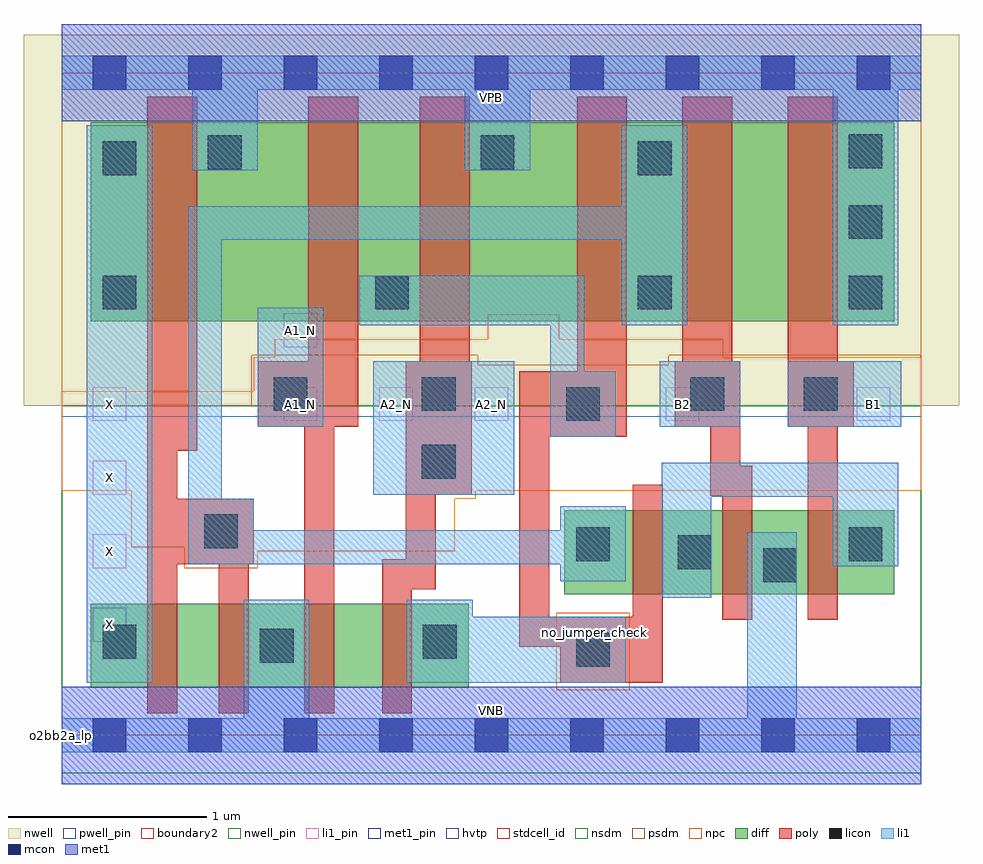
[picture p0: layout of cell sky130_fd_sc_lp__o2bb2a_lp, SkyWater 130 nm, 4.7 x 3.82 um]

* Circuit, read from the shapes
.subckt sky130_fd_sc_lp__o2bb2a_lp A1_N A2_N B1 B2 VGND VNB VPB VPWR X
XM1 n1 n2 X VNB sky130_fd_pr__nfet_01v8 w=0.42 l=0.15
XM2 VGND n2 n1 VNB sky130_fd_pr__nfet_01v8 w=0.42 l=0.15
XM3 n3 A1_N VGND VNB sky130_fd_pr__nfet_01v8 w=0.42 l=0.15
XM4 n4 A2_N n3 VNB sky130_fd_pr__nfet_01v8 w=0.42 l=0.15
XM5 n5 n4 n2 VNB sky130_fd_pr__nfet_01v8 w=0.42 l=0.15
XM6 VGND B2 n5 VNB sky130_fd_pr__nfet_01v8 w=0.42 l=0.15
XM7 n5 B1 VGND VNB sky130_fd_pr__nfet_01v8 w=0.42 l=0.15
XM8 VPWR n2 X VPB sky130_fd_pr__pfet_01v8_hvt w=1 l=0.25
XM9 n4 A1_N VPWR VPB sky130_fd_pr__pfet_01v8_hvt w=1 l=0.25
XM10 VPWR A2_N n4 VPB sky130_fd_pr__pfet_01v8_hvt w=1 l=0.25
XM11 n2 n4 VPWR VPB sky130_fd_pr__pfet_01v8_hvt w=1 l=0.25
XM12 n6 B2 n2 VPB sky130_fd_pr__pfet_01v8_hvt w=1 l=0.25
XM13 VPWR B1 n6 VPB sky130_fd_pr__pfet_01v8_hvt w=1 l=0.25
.ends

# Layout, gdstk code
import gdstk
lib = gdstk.Library(unit=1e-6, precision=1e-09)
def R(c, l, rs):  # rectangles x0, y0, x1, y1
    for r in rs: c.add(gdstk.rectangle(r[:2], r[2:], *l))
def A(c, l, x, y, w, h, nx, ny, dx, dy):  # array of equal rectangles
    R(c, l, [(x+i*dx, y+j*dy, x+i*dx+w, y+j*dy+h) for i in range(nx) for j in range(ny)])
def P(c, l, *ps):  # polygons
    for p in ps: c.add(gdstk.Polygon(p, *l))
nwell_pin = (64, 16)
nwell = (64, 20)
diff = (65, 20)
poly = (66, 20)
licon = (66, 44)
li1_pin = (67, 16)
li1 = (67, 20)
mcon = (67, 44)
met1_pin = (68, 16)
met1 = (68, 20)
hvtp = (78, 44)
stdcell_id = (81, 4)
nsdm = (93, 44)
psdm = (94, 20)
npc = (95, 20)
pwell_pin = (122, 16)
boundary2 = (236, 0)

sky130_fd_sc_lp__o2bb2a_ = lib.new_cell('sky130_fd_sc_lp__o2bb2a_lp')
R(sky130_fd_sc_lp__o2bb2a_, nwell_pin, [(0,3.085,4.32,3.33)])
R(sky130_fd_sc_lp__o2bb2a_, nwell, [(-0.19,1.655,4.51,3.52)])
R(sky130_fd_sc_lp__o2bb2a_, diff, [(0.145,0.24,2.045,0.66), (2.525,0.71,4.185,1.13), (0.145,2.08,4.185,3.08)])
P(sky130_fd_sc_lp__o2bb2a_, poly, [(0.965,1.19),(0.58,1.19),(0.58,1.43),(0.68,1.43),(0.68,3.21),(0.43,3.21),(0.43,0.11),(0.58,0.11),(0.58,0.86),(0.79,0.86),(0.79,0.11),(0.94,0.11),(0.94,0.86),(0.965,0.86)],
  [(1.49,3.21),(1.24,3.21),(1.24,1.88),(0.985,1.88),(0.985,1.55),(1.22,1.55),(1.22,0.11),(1.37,0.11),(1.37,1.55),(1.49,1.55)],
  [(2.06,1.88),(2.05,1.88),(2.05,3.21),(1.8,3.21),(1.8,1.88),(1.73,1.88),(1.73,0.885),(1.61,0.885),(1.61,0.11),(1.76,0.11),(1.76,0.735),(1.88,0.735),(1.88,1.21),(2.06,1.21)],
  [(3.02,1.26),(2.87,1.26),(2.87,0.595),(2.45,0.595),(2.45,1.5),(2.84,1.5),(2.84,3.21),(2.59,3.21),(2.59,1.83),(2.3,1.83),(2.3,0.445),(2.505,0.445),(2.505,0.265),(3.02,0.265)],
  [(3.47,1.355),(3.41,1.355),(3.41,1.88),(3.37,1.88),(3.37,3.21),(3.12,3.21),(3.12,1.88),(3.08,1.88),(3.08,1.55),(3.26,1.55),(3.26,1.205),(3.32,1.205),(3.32,0.58),(3.47,0.58)],
  [(3.98,1.88),(3.9,1.88),(3.9,3.21),(3.65,3.21),(3.65,1.55),(3.75,1.55),(3.75,0.58),(3.9,0.58),(3.9,1.55),(3.98,1.55)])
A(sky130_fd_sc_lp__o2bb2a_, licon, 3.955, 2.14, 0.17, 0.17, 1, 3, 0, 0.355)
R(sky130_fd_sc_lp__o2bb2a_, licon, [(2.585,0.345,2.755,0.515), (0.995,0.365,1.165,0.535), (0.205,0.385,0.375,0.555), (1.815,0.385,1.985,0.555), (3.525,0.77,3.695,0.94), (3.095,0.835,3.265,1.005), (2.585,0.875,2.755,1.045), (3.955,0.875,4.125,1.045), (0.715,0.94,0.885,1.11), (1.81,1.29,1.98,1.46), (2.535,1.58,2.705,1.75), (1.065,1.63,1.235,1.8), (1.81,1.63,1.98,1.8), (3.16,1.63,3.33,1.8), (3.73,1.63,3.9,1.8), (0.205,2.14,0.375,2.31), (1.575,2.14,1.745,2.31), (2.895,2.14,3.065,2.31), (0.205,2.815,0.375,2.985), (2.895,2.815,3.065,2.985), (0.735,2.845,0.905,3.015), (2.105,2.845,2.275,3.015)])
A(sky130_fd_sc_lp__o2bb2a_, li1_pin, 0.155, 0.47, 0.17, 0.17, 1, 4, 0, 0.37)
A(sky130_fd_sc_lp__o2bb2a_, li1_pin, 1.115, 1.58, 0.17, 0.17, 3, 1, 0.48, 0)
R(sky130_fd_sc_lp__o2bb2a_, li1_pin, [(3.035,1.58,3.205,1.75), (3.995,1.58,4.165,1.75), (1.115,1.95,1.285,2.12)])
R(sky130_fd_sc_lp__o2bb2a_, li1, [(0.125,0.265,0.455,3.065), (1.565,1.21,2.275,1.88), (0.985,1.55,1.315,2.15), (3.005,1.55,3.41,1.88), (3.65,1.55,4.22,1.88)])
P(sky130_fd_sc_lp__o2bb2a_, li1, [(3.875,2.06),(3.875,3.245),(2.355,3.245),(2.355,2.84),(2.025,2.84),(2.025,3.245),(0.985,3.245),(0.985,2.84),(0.655,2.84),(0.655,3.245),(0,3.245),(0,3.415),(4.32,3.415),(4.32,3.245),(4.205,3.245),(4.205,2.06)],
  [(0.915,0.085),(0.915,0.68),(1.245,0.68),(1.245,0.085),(3.445,0.085),(3.445,1.02),(3.695,1.02),(3.695,0.085),(4.32,0.085),(4.32,-0.085),(0,-0.085),(0,0.085)],
  [(0.805,2.49),(0.805,1.19),(0.965,1.19),(0.965,1.03),(2.505,1.03),(2.505,1.15),(2.835,1.15),(2.835,0.775),(2.505,0.775),(2.505,0.86),(0.635,0.86),(0.635,2.66),(2.815,2.66),(2.815,3.065),(3.145,3.065),(3.145,2.06),(2.815,2.06),(2.815,2.49)],
  [(3.875,0.85),(3.875,1.2),(3.265,1.2),(3.265,0.69),(3.015,0.69),(3.015,1.37),(4.205,1.37),(4.205,0.85)],
  [(1.735,0.265),(1.735,0.68),(2.065,0.68),(2.065,0.595),(2.835,0.595),(2.835,0.265)],
  [(2.625,1.83),(2.785,1.83),(2.785,1.5),(2.455,1.5),(2.455,2.06),(1.495,2.06),(1.495,2.31),(2.625,2.31)])
A(sky130_fd_sc_lp__o2bb2a_, mcon, 0.155, -0.085, 0.17, 0.17, 9, 2, 0.48, 3.33)
R(sky130_fd_sc_lp__o2bb2a_, met1_pin, [(0,0,4.32,0.245), (0,3.085,4.32,3.33)])
R(sky130_fd_sc_lp__o2bb2a_, met1, [(0,-0.245,4.32,0.245), (0,3.085,4.32,3.575)])
R(sky130_fd_sc_lp__o2bb2a_, hvtp, [(0,1.6,4.32,3.33)])
R(sky130_fd_sc_lp__o2bb2a_, stdcell_id, [(0,0,4.32,3.33)])
R(sky130_fd_sc_lp__o2bb2a_, nsdm, [(0,-0.19,4.32,1.655)])
P(sky130_fd_sc_lp__o2bb2a_, psdm, [(4.32,3.52),(0,3.52),(0,1.655),(0.955,1.655),(0.955,1.91),(2.09,1.91),(2.09,1.86),(3.05,1.86),(3.05,1.91),(4.32,1.91)])
R(sky130_fd_sc_lp__o2bb2a_, npc, [(2.485,0.225,2.855,0.615)])
P(sky130_fd_sc_lp__o2bb2a_, npc, [(4.32,1.9),(3.325,1.9),(3.325,1.99),(2.5,1.99),(2.5,2.115),(2.14,2.115),(2.14,1.99),(1.07,1.99),(1.07,1.9),(0.965,1.9),(0.965,1.73),(0,1.73),(0,1.23),(0.35,1.23),(0.35,0.945),(0.615,0.945),(0.615,0.84),(0.985,0.84),(0.985,0.925),(1.975,0.925),(1.975,1.19),(2.08,1.19),(2.08,1.23),(4.32,1.23)])
R(sky130_fd_sc_lp__o2bb2a_, pwell_pin, [(0,0,4.32,0.245)])
R(sky130_fd_sc_lp__o2bb2a_, boundary2, [(0,0,4.32,3.33)])
sky130_fd_sc_lp__o2bb2a_.add(gdstk.Label('VNB', (2.16,0.123), layer=64, texttype=59))
sky130_fd_sc_lp__o2bb2a_.add(gdstk.Label('VPB', (2.16,3.208), layer=64, texttype=5))
sky130_fd_sc_lp__o2bb2a_.add(gdstk.Label('o2bb2a_lp', (0,0), layer=83, texttype=44))
sky130_fd_sc_lp__o2bb2a_.add(gdstk.Label('no_jumper_check', (2.68,0.515), layer=83, texttype=44))
sky130_fd_sc_lp__o2bb2a_.add(gdstk.Label('VPWR', (2.16,3.208), layer=68, texttype=5))
sky130_fd_sc_lp__o2bb2a_.add(gdstk.Label('VGND', (2.16,0.123), layer=68, texttype=5))
sky130_fd_sc_lp__o2bb2a_.add(gdstk.Label('B2', (3.12,1.665), layer=67, texttype=5))
sky130_fd_sc_lp__o2bb2a_.add(gdstk.Label('B1', (4.08,1.665), layer=67, texttype=5))
sky130_fd_sc_lp__o2bb2a_.add(gdstk.Label('A2_N', (1.68,1.665), layer=67, texttype=5))
sky130_fd_sc_lp__o2bb2a_.add(gdstk.Label('A2_N', (2.16,1.665), layer=67, texttype=5))
sky130_fd_sc_lp__o2bb2a_.add(gdstk.Label('A1_N', (1.2,1.665), layer=67, texttype=5))
sky130_fd_sc_lp__o2bb2a_.add(gdstk.Label('A1_N', (1.2,2.035), layer=67, texttype=5))
sky130_fd_sc_lp__o2bb2a_.add(gdstk.Label('X', (0.24,0.555), layer=67, texttype=5))
sky130_fd_sc_lp__o2bb2a_.add(gdstk.Label('X', (0.24,0.925), layer=67, texttype=5))
sky130_fd_sc_lp__o2bb2a_.add(gdstk.Label('X', (0.24,1.295), layer=67, texttype=5))
sky130_fd_sc_lp__o2bb2a_.add(gdstk.Label('X', (0.24,1.665), layer=67, texttype=5))

lib.write_gds('sky130_fd_sc_lp__o2bb2a_lp.gds')
